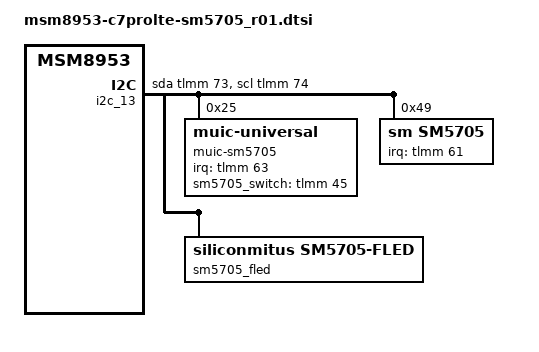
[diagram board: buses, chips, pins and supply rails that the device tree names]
/* Copyright (c) 2012, The Linux Foundation. All rights reserved.
 *
 * This program is free software; you can redistribute it and/or modify
 * it under the terms of the GNU General Public License version 2 and
 * only version 2 as published by the Free Software Foundation.
 *
 * This program is distributed in the hope that it will be useful,
 * but WITHOUT ANY WARRANTY; without even the implied warranty of
 * MERCHANTABILITY or FITNESS FOR A PARTICULAR PURPOSE.  See the
 * GNU General Public License for more details.
 */

&soc {
	i2c_13: i2c@13 {
		cell-index = <13>;
		compatible = "i2c-gpio";
		gpios = <&tlmm 73 0 /* sda */
			&tlmm 74 0	/* scl */
			>;
		i2c-gpio,delay-us = <2>;
		#address-cells = <1>;
		#size-cells = <0>;

		muic-sm5705@25 {
			status = "okay";
			compatible = "muic-universal";
			reg = <0x25>;
			interrupt-parent = <&tlmm>;
			interrupts = <63 0>;
			muic-universal,irq-gpio = <&tlmm 63 0x00>;
			sm5705,wakeup;
			muic-universal,chip_name = "sm,sm5705";
			pinctrl-names = "muic_i2c_pins_default",
				"muic_i2c_pins_active",
				"muic_i2c_pins_suspend";
			pinctrl-0 = <&sm5705_i2c_default &sm5705_interrupt_default>;
			pinctrl-1 = <&sm5705_i2c_active &sm5705_interrupt_default>;
			pinctrl-2 = <&sm5705_i2c_suspend &sm5705_interrupt_default>;
			muic,sm5705_switch_gpio = <&tlmm 45 0>;
			muic,max-afc-support-volt = <4>;
			muic,max-afc-support-cur = <8>;
		};

		sm5705@49{
			compatible = "sm,sm5705";
			reg = <0x49>;
			interrupt-parent = <&tlmm>;
			sm5705,irq-gpio = <&tlmm 61 0x00>;
			pinctrl-names = "default";
			pinctrl-0 = <&charger_int_active &charger_en_active>;
//			sm5705,mrstb-gpio = <&tlmm 87 0x00>;
/*
			sm5705_charger {
				compatible = "siliconmitus,sm5705-charger";
				chg_autostop = <0>;
				chg_autoset = <1>;
				chg_aiclen = <1>;
				chg_aiclth = <4300>;
				fg_vol_val = <4350>;
				fg_soc_val = <95>;
				fg_curr_avr_val = <150>;
			};
*/
		};
		sm5705_fled {
			compatible = "siliconmitus,sm5705-fled";
			enable = <1 1>;
			sm5705_fled@0 {
				id=<0>;
				status = "okay";
				flash-mode-current-mA = <1100>;
				preflash-mode-current-mA = <150>;
				torch-mode-current-mA = <50>;
				used-gpio-control = <1>;
				flash-en-gpio = <&tlmm 68 0x0>;
				torch-en-gpio = <&expander_gpios 0 0>;
			};
			sm5705_fled@1 {
				id=<1>;
				status = "okay";
				flash-mode-current-mA = <300>;
				preflash-mode-current-mA = <50>;
				torch-mode-current-mA = <30>;
				used-gpio-control = <1>;
				flash-en-gpio = <&tlmm 69 0x0>;
				torch-en-gpio = <&expander_gpios 2 0>;
			};
			sm5705_leds1: sm5705-leds1 {
				ledname = "leds-sec1";
				/* sm5705_FLASH_LED_1 */
				id = <0>;
				/* sm5705_FLASH_CURRENT */
				brightness = <0xC>;
				/* sm5705_FLASH_TIMEOUT */
				timeout = <0x3>;
				default-trigger = "flash_trigger";
			};

			sm5705_leds2: sm5705-leds2 {
				ledname = "torch-sec1";
				/* sm5705_TORCH_LED_1 */
				id = <1>;
				/* sm5705_TORCH_CURRENT */
				brightness = <0xC>;
				/* sm5705_TORCH_TIMEOUT */
				timeout = <0xF>;
				default-trigger = "torch_trigger";
			};
		};
	};
};

/ {
	muic {
		status = "okay";
		muic,support-list = "+OTG:GND",
					"-MHL:1K",
					"-VZW Accessory:28.7K",
					"-VZW Incompatible:34K",
					"-Smartdock:40.2K",
					"-HMT:49.9K",
					"-Audiodock:64.9K",
					"-USB LANHUB:80.07K",
					"-Charging Cable:102K",
					"-Universal Multimedia dock:121K",
					"+Jig USB Off:255K",
					"+Jig USB On:301K",
					"+Deskdock:365K",
					"+TYPE2 Charger:442K",
					"+Jig UART Off:523K",
					"+Jig UART On:619K",
					"+TA:OPEN",
					"+USB:OPEN",
					"+CDP:OPEN",
					"+Undefined Charging:XXX";
	};
};

